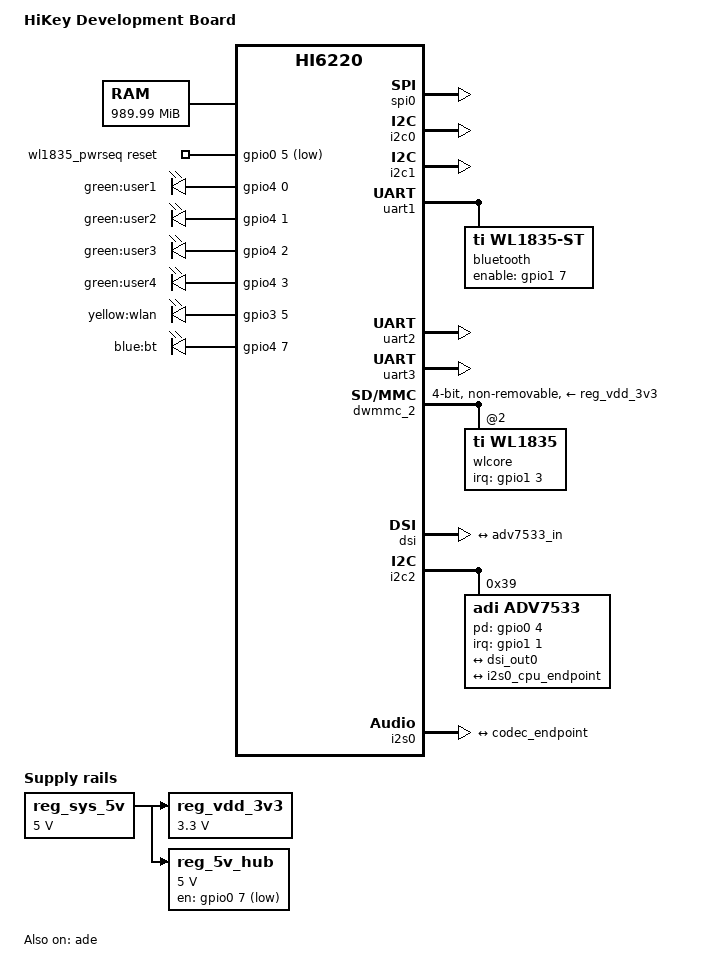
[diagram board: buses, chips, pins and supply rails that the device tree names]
// SPDX-License-Identifier: GPL-2.0
/*
 * dts file for Hisilicon HiKey Development Board
 *
 * Copyright (C) 2015, Hisilicon Ltd.
 *
 */

/dts-v1/;
#include "hi6220.dtsi"
#include "hikey-pinctrl.dtsi"
#include <dt-bindings/gpio/gpio.h>

/ {
	model = "HiKey Development Board";
	compatible = "hisilicon,hi6220-hikey", "hisilicon,hi6220";

	aliases {
		serial0 = &uart0; /* On board UART0 */
		serial1 = &uart1; /* BT UART */
		serial2 = &uart2; /* LS Expansion UART0 */
		serial3 = &uart3; /* LS Expansion UART1 */
	};

	chosen {
		stdout-path = "serial3:115200n8";
	};

	/*
	 * Reserve below regions from memory node:
	 *
	 *  0x05e0,0000 - 0x05ef,ffff: MCU firmware runtime using
	 *  0x05f0,1000 - 0x05f0,1fff: Reboot reason
	 *  0x06df,f000 - 0x06df,ffff: Mailbox message data
	 *  0x0740,f000 - 0x0740,ffff: MCU firmware section
	 *  0x21f0,0000 - 0x21ff,ffff: pstore/ramoops buffer
	 *  0x3e00,0000 - 0x3fff,ffff: OP-TEE
	 */
	memory@0 {
		device_type = "memory";
		reg = <0x00000000 0x00000000 0x00000000 0x05e00000>,
		      <0x00000000 0x05f00000 0x00000000 0x00001000>,
		      <0x00000000 0x05f02000 0x00000000 0x00efd000>,
		      <0x00000000 0x06e00000 0x00000000 0x0060f000>,
		      <0x00000000 0x07410000 0x00000000 0x1aaf0000>,
		      <0x00000000 0x22000000 0x00000000 0x1c000000>;
	};

	reserved-memory {
		#address-cells = <2>;
		#size-cells = <2>;
		ranges;

		ramoops@21f00000 {
			compatible = "ramoops";
			reg = <0x0 0x21f00000 0x0 0x00100000>;
			record-size	= <0x00020000>;
			console-size	= <0x00020000>;
			ftrace-size	= <0x00020000>;
		};

		/* global autoconfigured region for contiguous allocations */
		linux,cma {
			compatible = "shared-dma-pool";
			reusable;
			size = <0x00000000 0x08000000>;
			linux,cma-default;
		};
	};

	reboot-mode-syscon@5f01000 {
		compatible = "syscon", "simple-mfd";
		reg = <0x0 0x05f01000 0x0 0x00001000>;

		reboot-mode {
			compatible = "syscon-reboot-mode";
			offset = <0x0>;

			mode-normal	= <0x77665501>;
			mode-bootloader	= <0x77665500>;
			mode-recovery	= <0x77665502>;
		};
	};

	reg_sys_5v: regulator@0 {
		compatible = "regulator-fixed";
		regulator-name = "SYS_5V";
		regulator-min-microvolt = <5000000>;
		regulator-max-microvolt = <5000000>;
		regulator-boot-on;
		regulator-always-on;
	};

	reg_vdd_3v3: regulator@1 {
		compatible = "regulator-fixed";
		regulator-name = "VDD_3V3";
		regulator-min-microvolt = <3300000>;
		regulator-max-microvolt = <3300000>;
		regulator-boot-on;
		regulator-always-on;
		vin-supply = <&reg_sys_5v>;
	};

	reg_5v_hub: regulator@2 {
		compatible = "regulator-fixed";
		regulator-name = "5V_HUB";
		regulator-min-microvolt = <5000000>;
		regulator-max-microvolt = <5000000>;
		regulator-boot-on;
		gpio = <&gpio0 7 0>;
		regulator-always-on;
		vin-supply = <&reg_sys_5v>;
	};

	wl1835_pwrseq: wl1835-pwrseq {
		compatible = "mmc-pwrseq-simple";
		/* WLAN_EN GPIO */
		reset-gpios = <&gpio0 5 GPIO_ACTIVE_LOW>;
		clocks = <&pmic>;
		clock-names = "ext_clock";
		post-power-on-delay-ms = <10>;
		power-off-delay-us = <10>;
	};

	soc {
		spi0: spi@f7106000 {
			status = "ok";
		};

		i2c0: i2c@f7100000 {
			status = "ok";
		};

		i2c1: i2c@f7101000 {
			status = "ok";
		};

		uart1: uart@f7111000 {
			assigned-clocks = <&sys_ctrl HI6220_UART1_SRC>;
			assigned-clock-rates = <150000000>;
			status = "ok";

			bluetooth {
				compatible = "ti,wl1835-st";
				enable-gpios = <&gpio1 7 GPIO_ACTIVE_HIGH>;
				clocks = <&pmic>;
				clock-names = "ext_clock";
			};
		};

		uart2: uart@f7112000 {
			status = "ok";
		};

		uart3: uart@f7113000 {
			status = "ok";
		};

		/*
		 * Legend: proper name = the GPIO line is used as GPIO
		 *         NC = not connected (not routed from the SoC)
		 *         "[PER]" = pin is muxed for peripheral (not GPIO)
		 *         "" = no idea, schematic doesn't say, could be
		 *              unrouted (not connected to any external pin)
		 *         LSEC = Low Speed External Connector
		 *         HSEC = High Speed External Connector
		 *
		 * Pin assignments taken from LeMaker and CircuitCo Schematics
		 * Rev A1.
		 *
		 * For the lines routed to the external connectors the
		 * lines are named after the 96Boards CE Specification 1.0,
		 * Appendix "Expansion Connector Signal Description".
		 *
		 * When the 96Board naming of a line and the schematic name of
		 * the same line are in conflict, the 96Board specification
		 * takes precedence, which means that the external UART on the
		 * LSEC is named UART0 while the schematic and SoC names this
		 * UART2. This is only for the informational lines i.e. "[FOO]",
		 * the GPIO named lines "GPIO-A" thru "GPIO-L" are the only
		 * ones actually used for GPIO.
		 */
		gpio0: gpio@f8011000 {
			gpio-line-names = "PWR_HOLD", "DSI_SEL",
			"USB_HUB_RESET_N", "USB_SEL", "HDMI_PD", "WL_REG_ON",
			"PWRON_DET", "5V_HUB_EN";
		};

		gpio1: gpio@f8012000 {
			gpio-line-names = "SD_DET", "HDMI_INT", "PMU_IRQ_N",
			"WL_HOST_WAKE", "NC", "NC", "NC", "BT_REG_ON";
		};

		gpio2: gpio@f8013000 {
			gpio-line-names =
				"GPIO-A", /* LSEC Pin 23: GPIO2_0 */
				"GPIO-B", /* LSEC Pin 24: GPIO2_1 */
				"GPIO-C", /* LSEC Pin 25: GPIO2_2 */
				"GPIO-D", /* LSEC Pin 26: GPIO2_3 */
				"GPIO-E", /* LSEC Pin 27: GPIO2_4 */
				"USB_ID_DET", "USB_VBUS_DET",
				"GPIO-H"; /* LSEC Pin 30: GPIO2_7 */
		};

		gpio3: gpio@f8014000 {
			gpio-line-names = "GPIO3_0", "NC", "NC", "", "NC", "",
			"WLAN_ACTIVE", "NC", "NC";
		};

		gpio4: gpio@f7020000 {
			gpio-line-names = "USER_LED1", "USER_LED2", "USER_LED3",
			"USER_LED4", "SD_SEL", "NC", "NC", "BT_ACTIVE";
		};

		gpio5: gpio@f7021000 {
			gpio-line-names = "NC", "NC",
			"[UART1_RxD]", /* LSEC Pin 11: UART3_RX */
			"[UART1_TxD]", /* LSEC Pin 13: UART3_TX */
			"[AUX_SSI1]", "NC",
			"[PCM_CLK]", /* LSEC Pin 18: MODEM_PCM_XCLK */
			"[PCM_FS]"; /* LSEC Pin 16: MODEM_PCM_XFS */
		};

		gpio6: gpio@f7022000 {
			gpio-line-names =
			"[SPI0_DIN]", /* Pin 10: SPI0_DI */
			"[SPI0_DOUT]", /* Pin 14: SPI0_DO */
			"[SPI0_CS]", /* Pin 12: SPI0_CS_N */
			"[SPI0_SCLK]", /* Pin 8: SPI0_SCLK */
			"NC", "NC", "NC",
			"GPIO-G"; /* Pin 29: GPIO6_7_DSI_TE0 */
		};

		gpio7: gpio@f7023000 {
			gpio-line-names = "NC", "NC", "NC", "NC",
			"[PCM_DI]", /* Pin 22: MODEM_PCM_DI */
			"[PCM_DO]", /* Pin 20: MODEM_PCM_DO */
			"NC", "NC";
		};

		gpio8: gpio@f7024000 {
			gpio-line-names = "NC", "[CEC_CLK_19_2MHZ]", "NC",
			"", "", "", "", "", "";
		};

		gpio9: gpio@f7025000 {
			gpio-line-names = "",
			"GPIO-J", /* LSEC Pin 32: ISP_PWDN0_GPIO9_1 */
			"GPIO-L", /* LSEC Pin 34: ISP_PWDN1_GPIO9_2 */
			"NC", "NC", "NC", "NC", "[ISP_CCLK0]";
		};

		gpio10: gpio@f7026000 {
			gpio-line-names = "BOOT_SEL",
			"[ISP_CCLK1]",
			"GPIO-I", /* LSEC Pin 31: ISP_RSTB0_GPIO10_2 */
			"GPIO-K", /* LSEC Pin 33: ISP_RSTB1_GPIO10_3 */
			"NC", "NC",
			"[I2C2_SDA]", /* HSEC Pin 34: ISP0_SDA */
			"[I2C2_SCL]"; /* HSEC Pin 32: ISP0_SCL */
		};

		gpio11: gpio@f7027000 {
			gpio-line-names =
			"[I2C3_SDA]", /* HSEC Pin 38: ISP1_SDA */
			"[I2C3_SCL]", /* HSEC Pin 36: ISP1_SCL */
			"", "NC", "NC", "NC", "", "";
		};

		gpio12: gpio@f7028000 {
			gpio-line-names = "[BT_PCM_XFS]", "[BT_PCM_DI]",
			"[BT_PCM_DO]",
			"NC", "NC", "NC", "NC",
			"GPIO-F"; /* LSEC Pin 28: BL_PWM_GPIO12_7 */
		};

		gpio13: gpio@f7029000 {
			gpio-line-names = "[UART0_RX]", "[UART0_TX]",
			"[BT_UART1_CTS]", "[BT_UART1_RTS]",
			"[BT_UART1_RX]", "[BT_UART1_TX]",
			"[UART0_CTS]", /* LSEC Pin 3: UART2_CTS_N */
			"[UART0_RTS]"; /* LSEC Pin 9: UART2_RTS_N */
		};

		gpio14: gpio@f702a000 {
			gpio-line-names =
			"[UART0_RxD]", /* LSEC Pin 7: UART2_RX */
			"[UART0_TxD]", /* LSEC Pin 5: UART2_TX */
			"[I2C0_SCL]", /* LSEC Pin 15: I2C0_SCL */
			"[I2C0_SDA]", /* LSEC Pin 17: I2C0_SDA */
			"[I2C1_SCL]", /* LSEC Pin 19: I2C1_SCL */
			"[I2C1_SDA]", /* LSEC Pin 21: I2C1_SDA */
			"[I2C2_SCL]", "[I2C2_SDA]";
		};

		gpio15: gpio@f702b000 {
			gpio-line-names = "", "", "", "", "", "", "NC", "";
		};

		/* GPIO blocks 16 thru 19 do not appear to be routed to pins */

		dwmmc_0: dwmmc0@f723d000 {
			cap-mmc-highspeed;
			non-removable;
			bus-width = <0x8>;
			vmmc-supply = <&ldo19>;
		};

		dwmmc_1: dwmmc1@f723e000 {
			card-detect-delay = <200>;
			cap-sd-highspeed;
			sd-uhs-sdr12;
			sd-uhs-sdr25;
			sd-uhs-sdr50;
			vqmmc-supply = <&ldo7>;
			vmmc-supply = <&ldo10>;
			bus-width = <0x4>;
			disable-wp;
			cd-gpios = <&gpio1 0 1>;
		};

		dwmmc_2: dwmmc2@f723f000 {
			bus-width = <0x4>;
			non-removable;
			cap-power-off-card;
			vmmc-supply = <&reg_vdd_3v3>;
			mmc-pwrseq = <&wl1835_pwrseq>;

			#address-cells = <0x1>;
			#size-cells = <0x0>;
			wlcore: wlcore@2 {
				compatible = "ti,wl1835";
				reg = <2>;	/* sdio func num */
				/* WL_IRQ, WL_HOST_WAKE_GPIO1_3 */
				interrupt-parent = <&gpio1>;
				interrupts = <3 IRQ_TYPE_EDGE_RISING>;
			};
		};
	};

	leds {
		compatible = "gpio-leds";

		user_led1 {
			label = "green:user1";
			gpios = <&gpio4 0 0>; /* <&gpio_user_led_1>; */
			linux,default-trigger = "heartbeat";
		};

		user_led2 {
			label = "green:user2";
			gpios = <&gpio4 1 0>; /* <&gpio_user_led_2>; */
			linux,default-trigger = "mmc0";
		};

		user_led3 {
			label = "green:user3";
			gpios = <&gpio4 2 0>; /* <&gpio_user_led_3>; */
			linux,default-trigger = "mmc1";
		};

		user_led4 {
			label = "green:user4";
			gpios = <&gpio4 3 0>; /* <&gpio_user_led_4>; */
			panic-indicator;
			linux,default-trigger = "none";
		};

		wlan_active_led {
			label = "yellow:wlan";
			gpios = <&gpio3 5 0>; /* <&gpio_wlan_active_led>; */
			linux,default-trigger = "phy0tx";
			default-state = "off";
		};

		bt_active_led {
			label = "blue:bt";
			gpios = <&gpio4 7 0>; /* <&gpio_bt_active_led>; */
			linux,default-trigger = "hci0-power";
			default-state = "off";
		};
	};

	pmic: pmic@f8000000 {
		compatible = "hisilicon,hi655x-pmic";
		reg = <0x0 0xf8000000 0x0 0x1000>;
		#clock-cells = <0>;
		interrupt-controller;
		#interrupt-cells = <2>;
		pmic-gpios = <&gpio1 2 GPIO_ACTIVE_HIGH>;

		regulators {
			ldo2: LDO2 {
				regulator-name = "LDO2_2V8";
				regulator-min-microvolt = <2500000>;
				regulator-max-microvolt = <3200000>;
				regulator-enable-ramp-delay = <120>;
			};

			ldo7: LDO7 {
				regulator-name = "LDO7_SDIO";
				regulator-min-microvolt = <1800000>;
				regulator-max-microvolt = <3300000>;
				regulator-enable-ramp-delay = <120>;
			};

			ldo10: LDO10 {
				regulator-name = "LDO10_2V85";
				regulator-min-microvolt = <1800000>;
				regulator-max-microvolt = <3000000>;
				regulator-enable-ramp-delay = <360>;
			};

			ldo13: LDO13 {
				regulator-name = "LDO13_1V8";
				regulator-min-microvolt = <1600000>;
				regulator-max-microvolt = <1950000>;
				regulator-enable-ramp-delay = <120>;
			};

			ldo14: LDO14 {
				regulator-name = "LDO14_2V8";
				regulator-min-microvolt = <2500000>;
				regulator-max-microvolt = <3200000>;
				regulator-enable-ramp-delay = <120>;
			};

			ldo15: LDO15 {
				regulator-name = "LDO15_1V8";
				regulator-min-microvolt = <1600000>;
				regulator-max-microvolt = <1950000>;
				regulator-boot-on;
				regulator-always-on;
				regulator-enable-ramp-delay = <120>;
			};

			ldo17: LDO17 {
				regulator-name = "LDO17_2V5";
				regulator-min-microvolt = <2500000>;
				regulator-max-microvolt = <3200000>;
				regulator-enable-ramp-delay = <120>;
			};

			ldo19: LDO19 {
				regulator-name = "LDO19_3V0";
				regulator-min-microvolt = <1800000>;
				regulator-max-microvolt = <3000000>;
				regulator-enable-ramp-delay = <360>;
			};

			ldo21: LDO21 {
				regulator-name = "LDO21_1V8";
				regulator-min-microvolt = <1650000>;
				regulator-max-microvolt = <2000000>;
				regulator-always-on;
				regulator-enable-ramp-delay = <120>;
			};

			ldo22: LDO22 {
				regulator-name = "LDO22_1V2";
				regulator-min-microvolt = <900000>;
				regulator-max-microvolt = <1200000>;
				regulator-boot-on;
				regulator-always-on;
				regulator-enable-ramp-delay = <120>;
			};
		};
	};

	firmware {
		optee {
			compatible = "linaro,optee-tz";
			method = "smc";
		};
	};

	sound_card {
		compatible = "audio-graph-card";
		dais = <&i2s0_port0>;
	};
};

&uart2 {
	label = "LS-UART0";
};
&uart3 {
	label = "LS-UART1";
};

&ade {
	status = "ok";
};

&dsi {
	status = "ok";

	ports {
		/* 1 for output port */
		port@1 {
			reg = <1>;

			dsi_out0: endpoint@0 {
				remote-endpoint = <&adv7533_in>;
			};
		};
	};
};

&i2c2 {
	#address-cells = <1>;
	#size-cells = <0>;
	status = "ok";

	adv7533: adv7533@39 {
		compatible = "adi,adv7533";
		reg = <0x39>;
		interrupt-parent = <&gpio1>;
		interrupts = <1 2>;
		pd-gpio = <&gpio0 4 0>;
		adi,dsi-lanes = <4>;
		#sound-dai-cells = <0>;

		ports {
			#address-cells = <1>;
			#size-cells = <0>;
			port@0 {
				adv7533_in: endpoint {
					remote-endpoint = <&dsi_out0>;
				};
			};
			port@2 {
				reg = <2>;
				codec_endpoint: endpoint {
					remote-endpoint = <&i2s0_cpu_endpoint>;
				};
			};
		};
	};
};

&i2s0 {

	ports {
		i2s0_port0: port@0 {
			i2s0_cpu_endpoint: endpoint {
				remote-endpoint = <&codec_endpoint>;
				dai-format = "i2s";
			};
		};
	};
};
